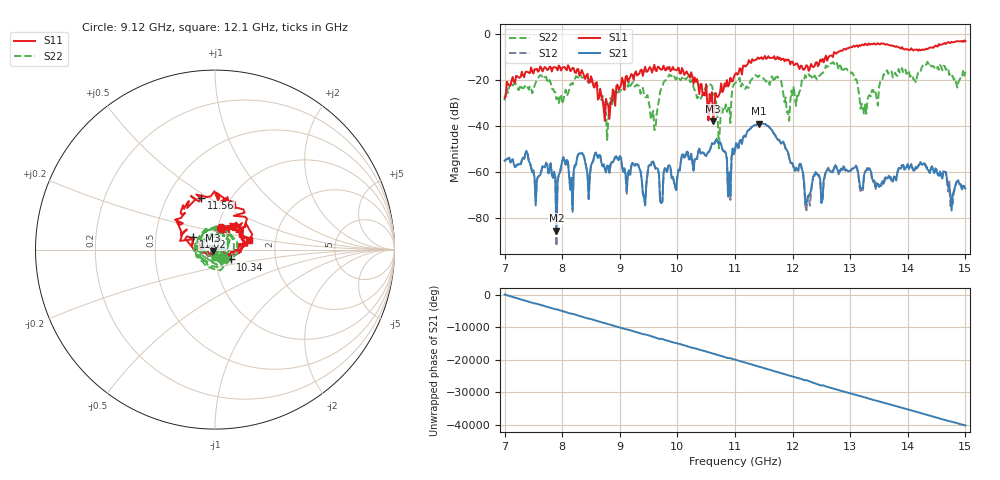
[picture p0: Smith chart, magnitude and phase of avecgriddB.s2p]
!Keysight Technologies,N5242B,MY47200105,A.14.00.23
!Date: Friday, April 26, 2024 10:52:29
!Correction: S11(C  2-Port  )
!S21(C  2-Port  )
!S12(C  2-Port  )
!S22(C  2-Port  )
!S2P File: Measurement: :
# Hz S  dB  R 50
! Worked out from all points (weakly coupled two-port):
!   401 points, 7 GHz to 15 GHz, reference 50 ohm
!   highest |S21| = -39.07 dB at 11.42 GHz (marker M1); lowest = -85.6 dB at 7.9 GHz (marker M2)
!   lowest |S11| = -38.2 dB at 10.62 GHz (marker M3), VSWR 1.02, Z = 48.9 - j0.593 ohm
!   |S11| at or under -10 dB: start of sweep to 11.51 GHz; 11.59 GHz to 11.67 GHz (88.26 MHz wide, 0.759 % of centre); 11.74 GHz to 12.57 GHz (831.4 MHz wide, 6.84 % of centre) (the widest 3 of 7)
!   |S22| runs from -49.9 to -12.1 dB; largest |S21 - S12| = 0.0002
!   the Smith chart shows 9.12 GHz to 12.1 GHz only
!   S11 on the Smith chart (normalised r, x): 9.12 GHz: 1.03, +0.25; 10.34 GHz: 1.18, -0.13; 11.02 GHz: 0.78, +0.11; 11.56 GHz: 0.73, +0.46; 12.1 GHz: 1.46, +0.16
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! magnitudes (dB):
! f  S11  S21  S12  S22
! 7 GHz  -27.9  -55.3  -55.3  -29.1
! 7.9 GHz  -14.8  -85.6  -92.4  -28.5
! 8.34 GHz  -15.8  -51.7  -51.9  -19.0
! 8.78 GHz  -30.4  -57.3  -57.3  -46.2
! 9.12 GHz  -18.3  -68.8  -69.6  -23.0
! 9.58 GHz  -15.2  -55.6  -55.5  -33.5
! 9.68 GHz  -14.5  -61.1  -61.1  -29.0
! 9.9 GHz  -15.8  -62.9  -62.6  -18.3
! 10.34 GHz  -19.7  -54.6  -54.3  -28.0
! 10.62 GHz  -38.2  -47.8  -47.7  -25.0
! 10.74 GHz  -25.5  -47.2  -47.3  -39.9
! 10.9 GHz  -22.0  -60.3  -60.3  -31.2
! 11 GHz  -17.7  -51.0  -51.0  -21.5
! 11.02 GHz  -17.1  -47.6  -47.6  -21.2
! 11.42 GHz  -10.9  -39.1  -39.1  -18.2
! 11.56 GHz  -10.6  -40.1  -40.1  -20.2
! 12.1 GHz  -14.1  -58.9  -59.7  -27.0
! 12.34 GHz  -14.1  -64.8  -64.3  -19.2
! 12.96 GHz  -6.4  -59.8  -60.3  -15.9
! 13.24 GHz  -5.1  -61.6  -61.9  -35.1
! 13.68 GHz  -5.0  -62.8  -62.1  -16.7
! 15 GHz  -3.3  -67.4  -66.1  -16.7
